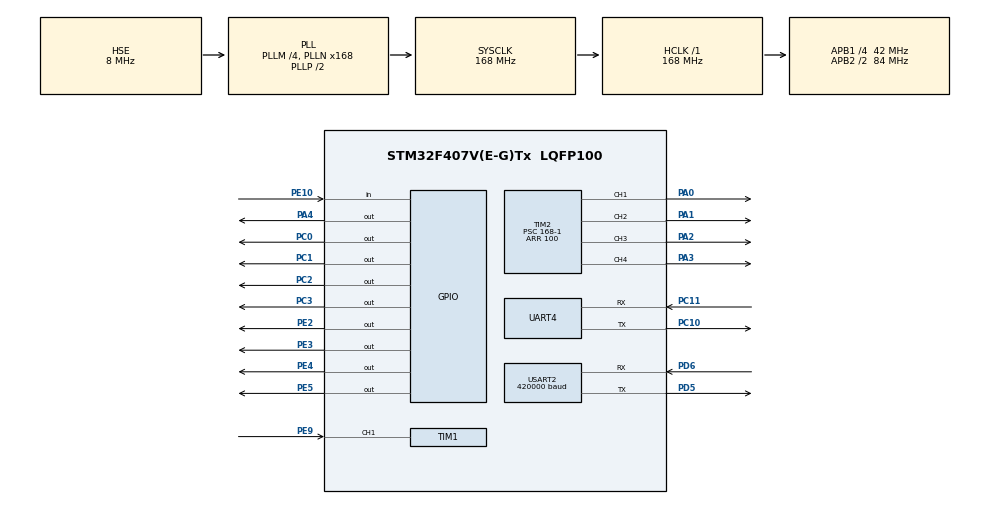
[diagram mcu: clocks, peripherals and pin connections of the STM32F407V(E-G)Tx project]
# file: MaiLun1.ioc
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Mcu.Family=STM32F4
Mcu.Name=STM32F407V(E-G)Tx
Mcu.Package=LQFP100
NVIC.PriorityGroup=NVIC_PRIORITYGROUP_2
NVIC.TIM1_CC_IRQn=true\:0\:0\:true\:false\:true\:true\:true\:true
NVIC.TIM3_IRQn=true\:0\:1\:true\:false\:true\:true\:true\:true
NVIC.UART4_IRQn=true\:1\:0\:true\:false\:true\:true\:true\:true
NVIC.USART2_IRQn=true\:0\:2\:true\:false\:true\:true\:true\:true
PA0-WKUP.Signal=S_TIM2_CH1_ETR
PA1.Signal=S_TIM2_CH2
PA13.Mode=Serial_Wire
PA13.Signal=SYS_JTMS-SWDIO
PA14.Mode=Serial_Wire
PA14.Signal=SYS_JTCK-SWCLK
PA2.Signal=S_TIM2_CH3
PA3.Signal=S_TIM2_CH4
PA4.Signal=GPIO_Output
PC0.Signal=GPIO_Output
PC1.Signal=GPIO_Output
PC10.Mode=Asynchronous
PC10.Signal=UART4_TX
PC11.Mode=Asynchronous
PC11.Signal=UART4_RX
PC2.Signal=GPIO_Output
PC3.Signal=GPIO_Output
PD5.Mode=Asynchronous
PD5.Signal=USART2_TX
PD6.Mode=Asynchronous
PD6.Signal=USART2_RX
PE10.Signal=GPIO_Input
PE2.Signal=GPIO_Output
PE3.Signal=GPIO_Output
PE4.Signal=GPIO_Output
PE5.Signal=GPIO_Output
PE9.Signal=S_TIM1_CH1
PH0-OSC_IN.Mode=HSE-External-Oscillator
PH0-OSC_IN.Signal=RCC_OSC_IN
PH1-OSC_OUT.Mode=HSE-External-Oscillator
PH1-OSC_OUT.Signal=RCC_OSC_OUT
ProjectManager.HeapSize=0x200
ProjectManager.StackSize=0x400
ProjectManager.TargetToolchain=CMake
RCC.48MHZClocksFreq_Value=84000000
RCC.AHBFreq_Value=168000000
RCC.APB1CLKDivider=RCC_HCLK_DIV4
RCC.APB1Freq_Value=42000000
RCC.APB1TimFreq_Value=84000000
RCC.APB2CLKDivider=RCC_HCLK_DIV2
RCC.APB2Freq_Value=84000000
RCC.APB2TimFreq_Value=168000000
RCC.CortexFreq_Value=168000000
RCC.HCLKFreq_Value=168000000
RCC.HSE_VALUE=8000000
RCC.HSI_VALUE=16000000
RCC.LSE_VALUE=32768
RCC.PLLM=4
RCC.PLLN=168
RCC.PLLSourceVirtual=RCC_PLLSOURCE_HSE
RCC.SYSCLKFreq_VALUE=168000000
RCC.SYSCLKSource=RCC_SYSCLKSOURCE_PLLCLK
RCC.VCOOutputFreq_Value=336000000
SH.S_TIM1_CH1.0=TIM1_CH1,Input_Capture1_from_TI1
SH.S_TIM2_CH1_ETR.0=TIM2_CH1,PWM Generation1 CH1
SH.S_TIM2_CH2.0=TIM2_CH2,PWM Generation2 CH2
SH.S_TIM2_CH3.0=TIM2_CH3,PWM Generation3 CH3
SH.S_TIM2_CH4.0=TIM2_CH4,PWM Generation4 CH4
TIM1.Channel-Input_Capture1_from_TI1=TIM_CHANNEL_1
TIM1.Prescaler=8400-1
TIM2.Channel-PWM\ Generation1\ CH1=TIM_CHANNEL_1
TIM2.Channel-PWM\ Generation2\ CH2=TIM_CHANNEL_2
TIM2.Channel-PWM\ Generation3\ CH3=TIM_CHANNEL_3
TIM2.Channel-PWM\ Generation4\ CH4=TIM_CHANNEL_4
TIM2.Period=100
TIM2.Prescaler=168-1
TIM3.Period=1000-1
TIM3.Prescaler=8400-1
TIM4.Period=1000-1
TIM4.Prescaler=8400-1
UART4.VirtualMode=Asynchronous
USART2.BaudRate=420000
USART2.VirtualMode=VM_ASYNC
VP_TIM1_VS_ClockSourceINT.Mode=Internal
VP_TIM2_VS_ClockSourceINT.Mode=Internal
VP_TIM3_VS_ClockSourceINT.Mode=Internal
VP_TIM4_VS_ClockSourceINT.Mode=Internal
board=custom

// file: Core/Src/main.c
/* USER CODE BEGIN Header */
/**
  ******************************************************************************
  * @file           : main.c
  * @brief          : Main program body
  ******************************************************************************
  * @attention
  *
  * Copyright (c) 2026 STMicroelectronics.
  * All rights reserved.
  *
  * This software is licensed under terms that can be found in the LICENSE file
  * in the root directory of this software component.
  * If no LICENSE file comes with this software, it is provided AS-IS.
  *
  ******************************************************************************
  */
/* USER CODE END Header */
#include "main.h"
#include "tim.h"
#include "usart.h"
#include "gpio.h"

/* USER CODE BEGIN Includes */
#include "Motor.h"
#include "chassis.h"
#include "elrs.h"
#include "Encoder.h"
#include "Serial.h"
/* USER CODE END Includes */

/* USER CODE BEGIN PV */

int8_t ctrl_enable;
int8_t RX = 0;

uint8_t rx_flag = 0; // 接收标志，1表示接收到新数据

/* USER CODE END PV */

void SystemClock_Config(void);

int main(void)
{

  /* MCU Configuration--------------------------------------------------------*/

  /* Reset of all peripherals, Initializes the Flash interface and the Systick. */
  HAL_Init();

  /* Configure the system clock */
  SystemClock_Config();

  /* Initialize all configured peripherals */
  MX_GPIO_Init();
  MX_TIM1_Init();
  MX_TIM2_Init();
  MX_TIM3_Init();
  MX_TIM4_Init();
  MX_UART4_Init();
  MX_USART2_UART_Init();
  /* USER CODE BEGIN 2 */
  Serial_Init();
  ELRS_Init();
  Motor_Init();
  Chassis_Init();

  // 启动中断
  HAL_TIM_IC_Start_IT(&htim1, TIM_CHANNEL_1);  // 启动单脉冲捕获中断
  HAL_TIM_Base_Start_IT(&htim3);               // 启动100ms定时中断
  //HAL_TIM_Base_Start_IT(&htim4);  // 启动TIM4中断

  /* USER CODE END 2 */

  /* Infinite loop */
  /* USER CODE BEGIN WHILE */
  while (1)

  { // 直接读取 PE10 电平，高=1，低=0
    direction = (HAL_GPIO_ReadPin(GPIOE, GPIO_PIN_10) == GPIO_PIN_SET) ? 1 : 0;

    //UART1接收数据
    //HAL_UART_Receive_IT(&huart3,&RX,sizeof(RX));
    //Chassis_Task(1,0, ch4_map ,ch1_map);

    // Chassis_Task(1,ch3_map/5.0f, ch4_map/5.0f ,ch1_map/5.0f);
    // PID_Update();
    //Serial_Printf("%d, %d, %d\r\n", ch3_map, ch4_map, ch1_map);

    // // 执行底盘控制（会调用kinematics_forward计算目标占空比）
    // Chassis_Task(1, ch3_map/5.0f, ch4_map/5.0f, ch1_map/5.0f);
    //
    // // 执行PID更新
    // PID_Update();
    //
    // // 调整执行频率
    // HAL_Delay(20);  // 20ms执行一次，50Hz频率
    //
    // // 调试信息
    // Serial_Printf("%d, %d, %d, Target PWM: %.2f, Actual PWM: %d\r\n", ch3_map, ch4_map, ch1_map, motor_pwm, pwm);

//////////////////
//2
    Chassis_Task(1, ch3_map, ch4_map, ch1_map);

    //Serial_Printf("%d, %d, %d, Target: %.2f, PWM: %d\r\n", ch3_map, ch4_map, ch1_map, motor_pwm, pwm);
    Serial_Printf("Target:%.2f  Actual:%.2f  PWM:%d\r\n", motor_pwm, pwm_v_s, pwm);
    /*  控制频率（20ms一次，50Hz） */
    HAL_Delay(20);
    HAL_Delay(20);

    /* USER CODE END WHILE */

  }
}

void SystemClock_Config(void)
{
  RCC_OscInitTypeDef RCC_OscInitStruct = {0};
  RCC_ClkInitTypeDef RCC_ClkInitStruct = {0};

  /** Configure the main internal regulator output voltage
  */
  __HAL_RCC_PWR_CLK_ENABLE();
  __HAL_PWR_VOLTAGESCALING_CONFIG(PWR_REGULATOR_VOLTAGE_SCALE1);

  /** Initializes the RCC Oscillators according to the specified parameters
  * in the RCC_OscInitTypeDef structure.
  */
  RCC_OscInitStruct.OscillatorType = RCC_OSCILLATORTYPE_HSE;
  RCC_OscInitStruct.HSEState = RCC_HSE_ON;
  RCC_OscInitStruct.PLL.PLLState = RCC_PLL_ON;
  RCC_OscInitStruct.PLL.PLLSource = RCC_PLLSOURCE_HSE;
  RCC_OscInitStruct.PLL.PLLM = 4;
  RCC_OscInitStruct.PLL.PLLN = 168;
  RCC_OscInitStruct.PLL.PLLP = RCC_PLLP_DIV2;
  RCC_OscInitStruct.PLL.PLLQ = 4;
  if (HAL_RCC_OscConfig(&RCC_OscInitStruct) != HAL_OK)
  {
    Error_Handler();
  }

  /** Initializes the CPU, AHB and APB buses clocks
  */
  RCC_ClkInitStruct.ClockType = RCC_CLOCKTYPE_HCLK|RCC_CLOCKTYPE_SYSCLK
                              |RCC_CLOCKTYPE_PCLK1|RCC_CLOCKTYPE_PCLK2;
  RCC_ClkInitStruct.SYSCLKSource = RCC_SYSCLKSOURCE_PLLCLK;
  RCC_ClkInitStruct.AHBCLKDivider = RCC_SYSCLK_DIV1;
  RCC_ClkInitStruct.APB1CLKDivider = RCC_HCLK_DIV4;
  RCC_ClkInitStruct.APB2CLKDivider = RCC_HCLK_DIV2;

  if (HAL_RCC_ClockConfig(&RCC_ClkInitStruct, FLASH_LATENCY_5) != HAL_OK)
  {
    Error_Handler();
  }
}

void Error_Handler(void)
{
  __disable_irq();
  while (1)
  {
  }
}
